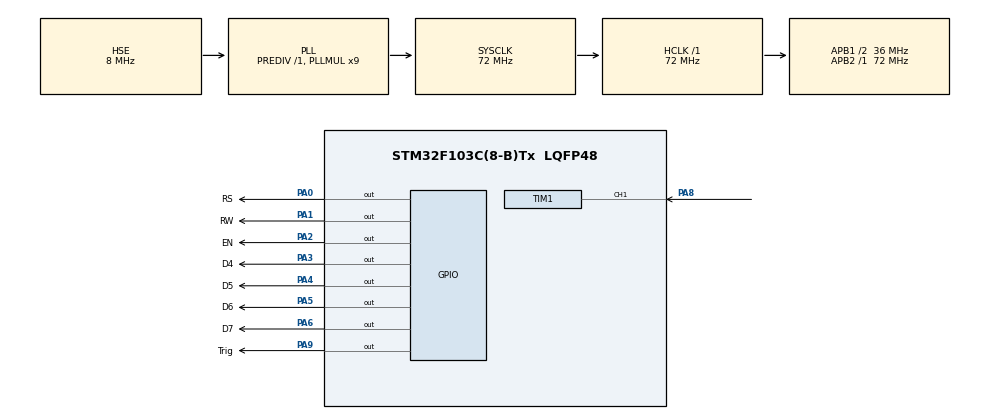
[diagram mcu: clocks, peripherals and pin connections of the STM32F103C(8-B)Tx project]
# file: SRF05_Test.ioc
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Mcu.Family=STM32F1
Mcu.Name=STM32F103C(8-B)Tx
Mcu.Package=LQFP48
NVIC.PriorityGroup=NVIC_PRIORITYGROUP_4
NVIC.TIM1_CC_IRQn=true\:0\:0\:false\:false\:true\:true\:true\:true
PA0-WKUP.GPIO_Label=RS
PA0-WKUP.Signal=GPIO_Output
PA1.GPIO_Label=RW
PA1.Signal=GPIO_Output
PA13.Mode=Serial_Wire
PA13.Signal=SYS_JTMS-SWDIO
PA14.Mode=Serial_Wire
PA14.Signal=SYS_JTCK-SWCLK
PA2.GPIO_Label=EN
PA2.Signal=GPIO_Output
PA3.GPIO_Label=D4
PA3.Signal=GPIO_Output
PA4.GPIO_Label=D5
PA4.Signal=GPIO_Output
PA5.GPIO_Label=D6
PA5.Signal=GPIO_Output
PA6.GPIO_Label=D7
PA6.Signal=GPIO_Output
PA8.Signal=S_TIM1_CH1
PA9.GPIO_Label=Trig
PA9.Signal=GPIO_Output
PD0-OSC_IN.Mode=HSE-External-Oscillator
PD0-OSC_IN.Signal=RCC_OSC_IN
PD1-OSC_OUT.Mode=HSE-External-Oscillator
PD1-OSC_OUT.Signal=RCC_OSC_OUT
ProjectManager.HeapSize=0x200
ProjectManager.StackSize=0x400
ProjectManager.TargetToolchain=STM32CubeIDE
RCC.AHBFreq_Value=72000000
RCC.APB1CLKDivider=RCC_HCLK_DIV2
RCC.APB1Freq_Value=36000000
RCC.APB1TimFreq_Value=72000000
RCC.APB2Freq_Value=72000000
RCC.APB2TimFreq_Value=72000000
RCC.HCLKFreq_Value=72000000
RCC.PLLMUL=RCC_PLL_MUL9
RCC.PLLSourceVirtual=RCC_PLLSOURCE_HSE
RCC.SYSCLKFreq_VALUE=72000000
RCC.SYSCLKSource=RCC_SYSCLKSOURCE_PLLCLK
RCC.USBFreq_Value=72000000
SH.S_TIM1_CH1.0=TIM1_CH1,Input_Capture1_from_TI1
TIM1.Channel-Input_Capture1_from_TI1=TIM_CHANNEL_1
TIM1.Period=0xffff-1
TIM1.Prescaler=72-1
board=custom

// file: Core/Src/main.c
/* USER CODE BEGIN Header */
/**
 ******************************************************************************
 * @file           : main.c
 * @brief          : Main program body
 ******************************************************************************
 * @attention
 *
 * Copyright (c) 2023 STMicroelectronics.
 * All rights reserved.
 *
 * This software is licensed under terms that can be found in the LICENSE file
 * in the root directory of this software component.
 * If no LICENSE file comes with this software, it is provided AS-IS.
 *
 ******************************************************************************
 */
/* USER CODE END Header */
#include "main.h"
#include "tim.h"
#include "gpio.h"

/* USER CODE BEGIN Includes */
#include "LCD.h"
#include "stdio.h"
/* USER CODE END Includes */

void SystemClock_Config(void);

/* USER CODE BEGIN 0 */

uint32_t IC_Val1 = 0;
uint32_t IC_Val2 = 0;
uint32_t Difference = 0;
uint8_t Is_First_Captured = 0;
uint8_t Distance = 0;
char buffer[16];

#define TRIG_PIN GPIO_PIN_9
#define TRIG_PORT GPIOA

void delay(uint16_t time) {
	__HAL_TIM_SET_COUNTER(&htim1, 0);
	while (__HAL_TIM_GET_COUNTER (&htim1) < time)
		;
}

void HCSR05_Read(void) {
	HAL_GPIO_WritePin(TRIG_PORT, TRIG_PIN, GPIO_PIN_SET); // pull the TRIG pin HIGH
	delay(10);  // wait for 10 us
	HAL_GPIO_WritePin(TRIG_PORT, TRIG_PIN, GPIO_PIN_RESET); // pull the TRIG pin low

	__HAL_TIM_ENABLE_IT(&htim1, TIM_IT_CC1);
}

// Let's write the callback function
void HAL_TIM_IC_CaptureCallback(TIM_HandleTypeDef *htim) {
	if (htim->Channel == HAL_TIM_ACTIVE_CHANNEL_1) // if the interrupt source is channel1
			{
		if (Is_First_Captured == 0) // if the first value is not captured
				{
			IC_Val1 = HAL_TIM_ReadCapturedValue(htim, TIM_CHANNEL_1); // read the first value
			Is_First_Captured = 1;  // set the first captured as true
			// Now change the polarity to falling edge
			__HAL_TIM_SET_CAPTUREPOLARITY(htim, TIM_CHANNEL_1,
					TIM_INPUTCHANNELPOLARITY_FALLING);
		}

		else if (Is_First_Captured == 1)   // if the first is already captured
				{
			IC_Val2 = HAL_TIM_ReadCapturedValue(htim, TIM_CHANNEL_1); // read second value
			__HAL_TIM_SET_COUNTER(htim, 0);  // reset the counter

			if (IC_Val2 > IC_Val1) {
				Difference = IC_Val2 - IC_Val1;
			}

			else if (IC_Val1 > IC_Val2) {
				Difference = (0xffff - IC_Val1) + IC_Val2;
			}

			Distance = Difference * .034 / 2;
			Is_First_Captured = 0; // set it back to false

			// set polarity to rising edge
			__HAL_TIM_SET_CAPTUREPOLARITY(htim, TIM_CHANNEL_1,
					TIM_INPUTCHANNELPOLARITY_RISING);
			__HAL_TIM_DISABLE_IT(&htim1, TIM_IT_CC1);
		}
	}
}

/* USER CODE END 0 */

int main(void)
{

  /* MCU Configuration--------------------------------------------------------*/

  /* Reset of all peripherals, Initializes the Flash interface and the Systick. */
  HAL_Init();

  /* Configure the system clock */
  SystemClock_Config();

  /* Initialize all configured peripherals */
  MX_GPIO_Init();
  MX_TIM1_Init();
  /* USER CODE BEGIN 2 */
	HAL_TIM_IC_Start_IT(&htim1, TIM_CHANNEL_1);
	LCD_Init();
  /* USER CODE END 2 */

  /* Infinite loop */
  /* USER CODE BEGIN WHILE */
	while (1) {
		HCSR05_Read();
		HAL_Delay(200);
		sprintf(buffer,"Dis = %03d", Distance);
		LCD_Puts(0, 0, buffer);
		LCD_Puts(0, 1, "DIGISPARK.IR");
    /* USER CODE END WHILE */

	}
}

void SystemClock_Config(void)
{
  RCC_OscInitTypeDef RCC_OscInitStruct = {0};
  RCC_ClkInitTypeDef RCC_ClkInitStruct = {0};

  /** Initializes the RCC Oscillators according to the specified parameters
  * in the RCC_OscInitTypeDef structure.
  */
  RCC_OscInitStruct.OscillatorType = RCC_OSCILLATORTYPE_HSE;
  RCC_OscInitStruct.HSEState = RCC_HSE_ON;
  RCC_OscInitStruct.HSEPredivValue = RCC_HSE_PREDIV_DIV1;
  RCC_OscInitStruct.HSIState = RCC_HSI_ON;
  RCC_OscInitStruct.PLL.PLLState = RCC_PLL_ON;
  RCC_OscInitStruct.PLL.PLLSource = RCC_PLLSOURCE_HSE;
  RCC_OscInitStruct.PLL.PLLMUL = RCC_PLL_MUL9;
  if (HAL_RCC_OscConfig(&RCC_OscInitStruct) != HAL_OK)
  {
    Error_Handler();
  }

  /** Initializes the CPU, AHB and APB buses clocks
  */
  RCC_ClkInitStruct.ClockType = RCC_CLOCKTYPE_HCLK|RCC_CLOCKTYPE_SYSCLK
                              |RCC_CLOCKTYPE_PCLK1|RCC_CLOCKTYPE_PCLK2;
  RCC_ClkInitStruct.SYSCLKSource = RCC_SYSCLKSOURCE_PLLCLK;
  RCC_ClkInitStruct.AHBCLKDivider = RCC_SYSCLK_DIV1;
  RCC_ClkInitStruct.APB1CLKDivider = RCC_HCLK_DIV2;
  RCC_ClkInitStruct.APB2CLKDivider = RCC_HCLK_DIV1;

  if (HAL_RCC_ClockConfig(&RCC_ClkInitStruct, FLASH_LATENCY_2) != HAL_OK)
  {
    Error_Handler();
  }
}

void Error_Handler(void)
{
	__disable_irq();
	while (1) {
	}
}
